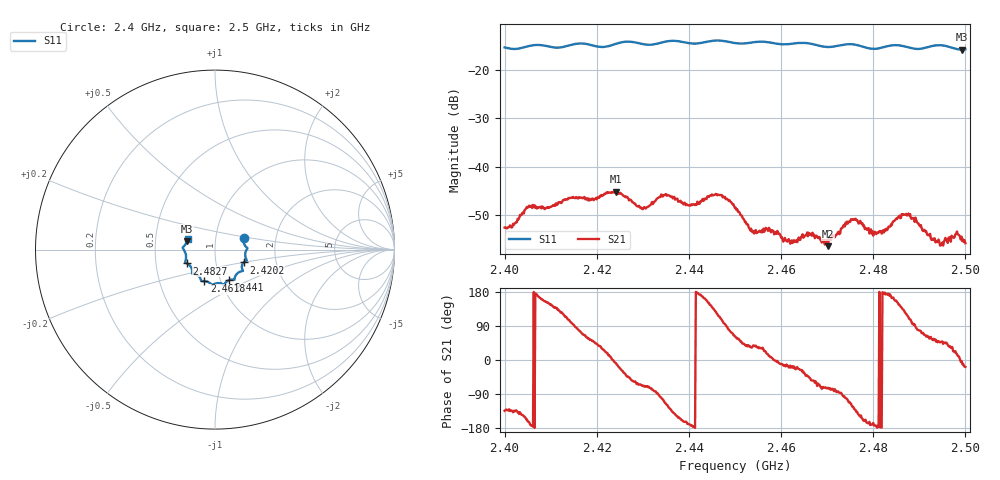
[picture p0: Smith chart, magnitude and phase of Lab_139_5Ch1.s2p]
# Hz S RI R 50
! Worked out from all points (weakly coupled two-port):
!   601 points, 2.4 GHz to 2.5 GHz, reference 50 ohm
!   highest |S21| = -45.12 dB at 2.4242 GHz (marker M1); lowest = -56.4 dB at 2.4702 GHz (marker M2)
!   lowest |S11| = -15.8 dB at 2.4992 GHz (marker M3), VSWR 1.39, Z = 36.4 + j3.62 ohm
!   |S11| at or under -10 dB: start of sweep to end of sweep
!   S12 and S22 are empty: the file has one direction only
!   S11 on the Smith chart (normalised r, x): 2.4 GHz: 1.36, +0.18; 2.4202 GHz: 1.36, -0.20; 2.441 GHz: 1.10, -0.39; 2.4618 GHz: 0.84, -0.30; 2.4827 GHz: 0.72, -0.11; 2.5 GHz: 0.73, +0.09
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2.4e9  0.1588 0.0627  -0.00164 -0.0017  0 0  0 0
2.405333e9  0.1764 0.0125  -0.00383 -0.00108  0 0  0 0
2.416667e9  0.1774 -0.0608  0.00153 0.00453  0 0  0 0
2.420167e9  0.1589 -0.0718  0.00367 0.00316  0 0  0 0
2.424167e9  0.1516 -0.1081  0.00548 -0.000814  0 0  0 0
2.43e9  0.1368 -0.1245  0.00141 -0.00338  0 0  0 0
2.433333e9  0.1118 -0.1508  -4.47e-05 -0.0048  0 0  0 0
2.441e9  0.0787 -0.1698  -0.00409 -0.000319  0 0  0 0
2.446167e9  0.0497 -0.1954  -0.00264 0.00434  0 0  0 0
2.45e9  0.0287 -0.1874  0.00177 0.00331  0 0  0 0
2.453667e9  -0.00522 -0.1921  0.00181 0.00117  0 0  0 0
2.461833e9  -0.059 -0.1757  0.00161 -0.000567  0 0  0 0
2.466667e9  -0.0789 -0.1683  0.00115 -0.00157  0 0  0 0
2.470167e9  -0.0964 -0.143  0.000434 -0.00146  0 0  0 0
2.475667e9  -0.1275 -0.1322  -0.00159 -0.00239  0 0  0 0
2.479667e9  -0.1331 -0.0987  -0.00202 -0.000333  0 0  0 0
2.482667e9  -0.1561 -0.0771  -0.00218 0.000266  0 0  0 0
2.483333e9  -0.1604 -0.0751  -0.00241 0.000226  0 0  0 0
2.4875e9  -0.1623 -0.055  -0.00137 0.00285  0 0  0 0
2.494333e9  -0.1799 0.0104  0.00112 0.00126  0 0  0 0
2.499167e9  -0.155 0.0484  0.0019 -7.96e-05  0 0  0 0
2.5e9  -0.1524 0.0602  0.00155 -0.000513  0 0  0 0
